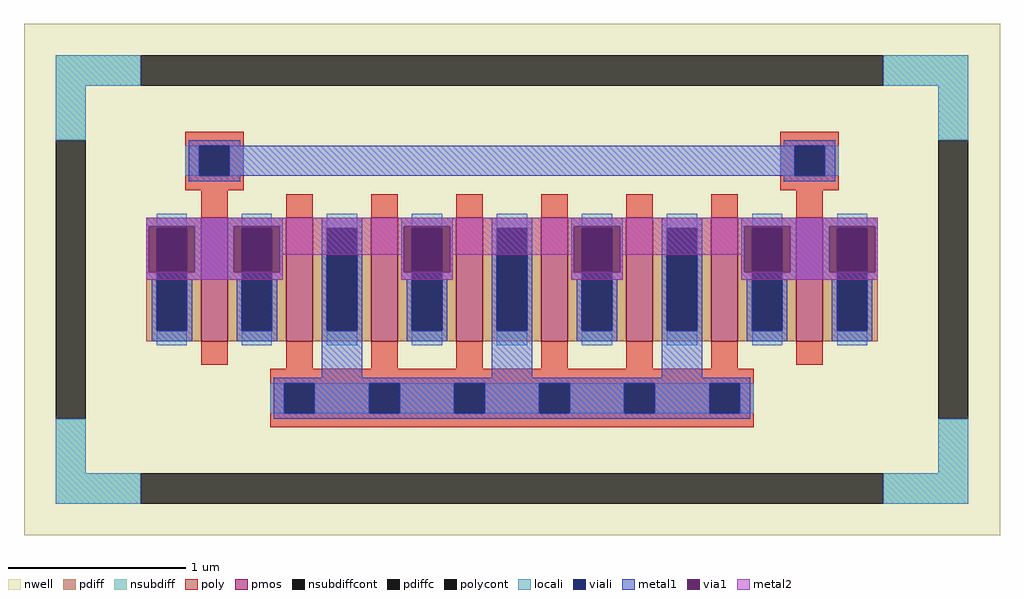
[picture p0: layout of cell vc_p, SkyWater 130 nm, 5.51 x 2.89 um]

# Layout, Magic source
magic
tech sky130A
magscale 1 2
<< nwell >>
rect -551 -289 551 289
<< pmos >>
rect -351 -70 -321 70
rect -255 -70 -225 70
rect -159 -70 -129 70
rect -63 -70 -33 70
rect 33 -70 63 70
rect 129 -70 159 70
rect 225 -70 255 70
rect 321 -70 351 70
<< pdiff >>
rect -413 58 -351 70
rect -413 -58 -401 58
rect -367 -58 -351 58
rect -413 -70 -351 -58
rect -321 58 -255 70
rect -321 -58 -305 58
rect -271 -58 -255 58
rect -321 -70 -255 -58
rect -225 58 -159 70
rect -225 -58 -209 58
rect -175 -58 -159 58
rect -225 -70 -159 -58
rect -129 58 -63 70
rect -129 -58 -113 58
rect -79 -58 -63 58
rect -129 -70 -63 -58
rect -33 58 33 70
rect -33 -58 -17 58
rect 17 -58 33 58
rect -33 -70 33 -58
rect 63 58 129 70
rect 63 -58 79 58
rect 113 -58 129 58
rect 63 -70 129 -58
rect 159 58 225 70
rect 159 -58 175 58
rect 209 -58 225 58
rect 159 -70 225 -58
rect 255 58 321 70
rect 255 -58 271 58
rect 305 -58 321 58
rect 255 -70 321 -58
rect 351 58 413 70
rect 351 -58 367 58
rect 401 -58 413 58
rect 351 -70 413 -58
<< pdiffc >>
rect -401 -58 -367 58
rect -305 -58 -271 58
rect -209 -58 -175 58
rect -113 -58 -79 58
rect -17 -58 17 58
rect 79 -58 113 58
rect 175 -58 209 58
rect 271 -58 305 58
rect 367 -58 401 58
<< nsubdiff >>
rect -515 219 -419 253
rect 419 219 515 253
rect -515 157 -481 219
rect 481 157 515 219
rect -515 -219 -481 -157
rect 481 -219 515 -157
rect -515 -253 -419 -219
rect 419 -253 515 -219
<< nsubdiffcont >>
rect -419 219 419 253
rect -515 -157 -481 157
rect 481 -157 515 157
rect -419 -253 419 -219
<< poly >>
rect -369 151 -303 167
rect -369 117 -353 151
rect -319 117 -303 151
rect -369 101 -303 117
rect 303 151 369 167
rect 303 117 319 151
rect 353 117 369 151
rect 303 101 369 117
rect -351 70 -321 101
rect -255 70 -225 96
rect -159 70 -129 96
rect -63 70 -33 96
rect 33 70 63 96
rect 129 70 159 96
rect 225 70 255 96
rect 321 70 351 101
rect -351 -96 -321 -70
rect -255 -101 -225 -70
rect -159 -101 -129 -70
rect -63 -101 -33 -70
rect 33 -101 63 -70
rect 129 -101 159 -70
rect 225 -101 255 -70
rect 321 -96 351 -70
rect -273 -117 273 -101
rect -273 -151 -257 -117
rect -223 -151 -161 -117
rect -127 -151 -65 -117
rect -31 -151 31 -117
rect 65 -151 127 -117
rect 161 -151 223 -117
rect 257 -151 273 -117
rect -273 -167 273 -151
<< polycont >>
rect -353 117 -319 151
rect 319 117 353 151
rect -257 -151 -223 -117
rect -161 -151 -127 -117
rect -65 -151 -31 -117
rect 31 -151 65 -117
rect 127 -151 161 -117
rect 223 -151 257 -117
<< locali >>
rect -515 219 -419 253
rect 419 219 515 253
rect -515 157 -481 219
rect 481 157 515 219
rect -369 117 -353 151
rect -319 117 -303 151
rect 303 117 319 151
rect 353 117 369 151
rect -401 58 -367 74
rect -401 -74 -367 -58
rect -305 58 -271 74
rect -305 -74 -271 -58
rect -209 58 -175 74
rect -209 -74 -175 -58
rect -113 58 -79 74
rect -113 -74 -79 -58
rect -17 58 17 74
rect -17 -74 17 -58
rect 79 58 113 74
rect 79 -74 113 -58
rect 175 58 209 74
rect 175 -74 209 -58
rect 271 58 305 74
rect 271 -74 305 -58
rect 367 58 401 74
rect 367 -74 401 -58
rect -273 -151 -257 -117
rect -223 -151 -161 -117
rect -127 -151 -65 -117
rect -31 -151 31 -117
rect 65 -151 127 -117
rect 161 -151 223 -117
rect 257 -151 273 -117
rect -515 -219 -481 -157
rect 481 -219 515 -157
rect -515 -253 -419 -219
rect 419 -253 515 -219
<< viali >>
rect -353 117 -319 151
rect 319 117 353 151
rect -401 -58 -367 58
rect -305 -58 -271 58
rect -209 -58 -175 58
rect -113 -58 -79 58
rect -17 -58 17 58
rect 79 -58 113 58
rect 175 -58 209 58
rect 271 -58 305 58
rect 367 -58 401 58
rect -257 -151 -223 -117
rect -161 -151 -127 -117
rect -65 -151 -31 -117
rect 31 -151 65 -117
rect 127 -151 161 -117
rect 223 -151 257 -117
<< metal1 >>
rect -365 151 -307 157
rect 307 151 365 157
rect -365 117 -353 151
rect -319 117 319 151
rect 353 117 365 151
rect -365 111 -307 117
rect 307 111 365 117
rect -413 60 -259 70
rect -413 8 -410 60
rect -358 8 -314 60
rect -262 8 -259 60
rect -413 0 -401 8
rect -407 -58 -401 0
rect -367 0 -305 8
rect -367 -58 -361 0
rect -407 -70 -361 -58
rect -311 -58 -305 0
rect -271 0 -259 8
rect -215 58 -169 70
rect -271 -58 -265 0
rect -311 -70 -265 -58
rect -215 -58 -209 58
rect -175 -58 -169 58
rect -125 60 -67 70
rect -125 8 -122 60
rect -70 8 -67 60
rect -125 0 -113 8
rect -215 -111 -169 -58
rect -119 -58 -113 0
rect -79 0 -67 8
rect -23 58 23 70
rect -79 -58 -73 0
rect -119 -70 -73 -58
rect -23 -58 -17 58
rect 17 -58 23 58
rect 67 60 125 70
rect 67 8 70 60
rect 122 8 125 60
rect 67 0 79 8
rect -23 -111 23 -58
rect 73 -58 79 0
rect 113 0 125 8
rect 169 58 215 70
rect 113 -58 119 0
rect 73 -70 119 -58
rect 169 -58 175 58
rect 209 -58 215 58
rect 259 60 413 70
rect 259 8 262 60
rect 314 8 358 60
rect 410 8 413 60
rect 259 0 271 8
rect 169 -111 215 -58
rect 265 -58 271 0
rect 305 0 367 8
rect 305 -58 311 0
rect 265 -70 311 -58
rect 361 -58 367 0
rect 401 0 413 8
rect 401 -58 407 0
rect 361 -70 407 -58
rect -269 -117 269 -111
rect -269 -151 -257 -117
rect -223 -151 -161 -117
rect -127 -151 -65 -117
rect -31 -151 31 -117
rect 65 -151 127 -117
rect 161 -151 223 -117
rect 257 -151 269 -117
rect -269 -157 269 -151
<< via1 >>
rect -410 58 -358 60
rect -410 8 -401 58
rect -401 8 -367 58
rect -367 8 -358 58
rect -314 58 -262 60
rect -314 8 -305 58
rect -305 8 -271 58
rect -271 8 -262 58
rect -122 58 -70 60
rect -122 8 -113 58
rect -113 8 -79 58
rect -79 8 -70 58
rect 70 58 122 60
rect 70 8 79 58
rect 79 8 113 58
rect 113 8 122 58
rect 262 58 314 60
rect 262 8 271 58
rect 271 8 305 58
rect 305 8 314 58
rect 358 58 410 60
rect 358 8 367 58
rect 367 8 401 58
rect 401 8 410 58
<< metal2 >>
rect -413 60 413 70
rect -413 8 -410 60
rect -358 8 -314 60
rect -262 28 -122 60
rect -262 8 -259 28
rect -413 0 -259 8
rect -125 8 -122 28
rect -70 28 70 60
rect -70 8 -67 28
rect -125 0 -67 8
rect 67 8 70 28
rect 122 28 262 60
rect 122 8 125 28
rect 67 0 125 8
rect 259 8 262 28
rect 314 8 358 60
rect 410 8 413 60
rect 259 0 413 8
<< properties >>
string FIXED_BBOX -498 -236 498 236
string gencell sky130_fd_pr__pfet_01v8
string library sky130
string parameters w 0.7 l 0.15 m 1 nf 8 diffcov 100 polycov 100 guard 1 glc 1 grc 1 gtc 1 gbc 1 tbcov 100 rlcov 100 topc 1 botc 1 poverlap 0 doverlap 1 lmin 0.15 wmin 0.42 compatible {sky130_fd_pr__pfet_01v8  sky130_fd_pr__pfet_01v8_lvt sky130_fd_pr__pfet_01v8_hvt  sky130_fd_pr__pfet_g5v0d10v5} full_metal 1 viasrc 100 viadrn 100 viagate 100 viagb 0 viagr 0 viagl 0 viagt 0
<< end >>
